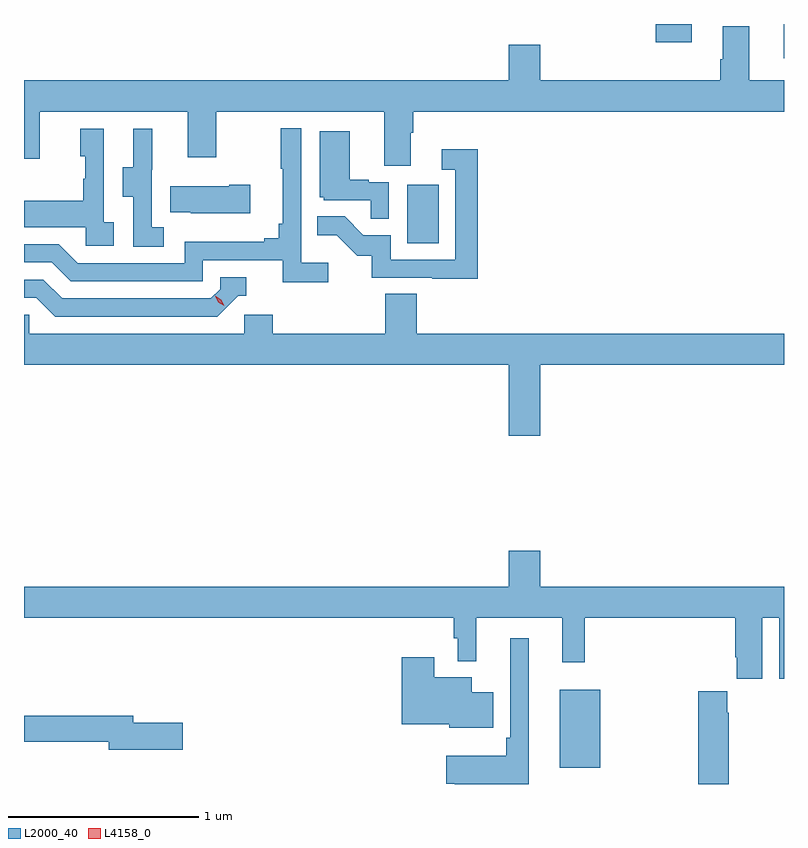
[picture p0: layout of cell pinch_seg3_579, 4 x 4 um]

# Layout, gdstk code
import gdstk
lib = gdstk.Library(unit=1e-6, precision=1e-09)
def R(c, l, rs):  # rectangles x0, y0, x1, y1
    for r in rs: c.add(gdstk.rectangle(r[:2], r[2:], *l))
def P(c, l, *ps):  # polygons
    for p in ps: c.add(gdstk.Polygon(p, *l))
L2000_40 = (2000, 40)
L4158_0 = (4158, 0)

pinch_seg3_579 = lib.new_cell('pinch_seg3_579')
R(pinch_seg3_579, L2000_40, [(1064.375,688.139,1064.59,688.549), (1063.574,690.9,1063.738,691.207), (1065.554,691.872,1065.556,692.053), (1064.881,691.956,1065.07,692.053)])
P(pinch_seg3_579, L2000_40, [(1063.591,691.48),(1063.604,691.48),(1063.604,691.592),(1065.556,691.592),(1065.556,691.756),(1065.373,691.756),(1065.373,692.042),(1065.233,692.042),(1065.233,691.868),(1065.221,691.868),(1065.221,691.756),(1064.272,691.756),(1064.272,691.945),(1064.108,691.945),(1064.108,691.756),(1061.556,691.756),(1061.556,691.344),(1061.639,691.344),(1061.639,691.592),(1062.419,691.592),(1062.419,691.353),(1062.567,691.353),(1062.567,691.592),(1063.451,691.592),(1063.451,691.306),(1063.591,691.306)],
  [(1063.156,690.796),(1063.014,690.796),(1063.014,691.504),(1062.906,691.504),(1062.906,691.291),(1062.917,691.291),(1062.917,691.003),(1062.898,691.003),(1062.898,690.926),(1062.821,690.926),(1062.821,690.907),(1062.402,690.907),(1062.402,690.795),(1061.838,690.795),(1061.739,690.894),(1061.556,690.894),(1061.556,690.798),(1061.702,690.798),(1061.801,690.699),(1062.498,690.699),(1062.498,690.81),(1062.917,690.81),(1062.917,690.694),(1063.156,690.694)],
  [(1062.292,690.983),(1062.228,690.983),(1062.228,691.287),(1062.23,691.287),(1062.23,691.501),(1062.131,691.501),(1062.131,691.299),(1062.077,691.299),(1062.077,691.144),(1062.132,691.144),(1062.132,690.88),(1062.292,690.88)],
  [(1062.028,691.01),(1061.976,691.01),(1061.976,691.501),(1061.852,691.501),(1061.852,691.356),(1061.878,691.356),(1061.878,691.238),(1061.868,691.238),(1061.868,691.123),(1061.556,691.123),(1061.556,690.983),(1061.88,690.983),(1061.88,690.885),(1062.028,690.885)],
  [(1063.476,691.221),(1063.37,691.221),(1063.37,691.234),(1063.27,691.234),(1063.27,691.489),(1063.112,691.489),(1063.112,691.14),(1063.134,691.14),(1063.134,691.125),(1063.381,691.125),(1063.381,691.027),(1063.476,691.027)],
  [(1063.943,691.393),(1063.755,691.393),(1063.755,691.287),(1063.827,691.287),(1063.827,690.813),(1063.485,690.813),(1063.485,690.942),(1063.341,690.942),(1063.243,691.04),(1063.099,691.04),(1063.099,690.941),(1063.203,690.941),(1063.31,690.834),(1063.387,690.834),(1063.387,690.717),(1063.705,690.717),(1063.705,690.712),(1063.943,690.712)],
  [(1062.748,691.206),(1062.635,691.206),(1062.635,691.198),(1062.325,691.198),(1062.325,691.061),(1062.433,691.061),(1062.433,691.058),(1062.748,691.058)],
  [(1062.684,690.624),(1062.727,690.624),(1062.727,690.72),(1062.588,690.72),(1062.588,690.657),(1062.54,690.609),(1061.757,690.609),(1061.658,690.708),(1061.556,690.708),(1061.556,690.612),(1061.621,690.612),(1061.72,690.513),(1062.573,690.513)],
  [(1064.272,690.26),(1065.556,690.26),(1065.556,690.424),(1063.622,690.424),(1063.622,690.632),(1063.457,690.632),(1063.457,690.424),(1062.866,690.424),(1062.866,690.522),(1062.714,690.522),(1062.714,690.424),(1061.583,690.424),(1061.583,690.522),(1061.556,690.522),(1061.556,690.26),(1064.108,690.26),(1064.108,689.886),(1064.272,689.886)],
  [(1065.442,688.928),(1065.53,688.928),(1065.53,688.608),(1065.556,688.608),(1065.556,689.092),(1064.272,689.092),(1064.272,689.281),(1064.108,689.281),(1064.108,689.092),(1061.556,689.092),(1061.556,688.928),(1063.819,688.928),(1063.819,688.821),(1063.839,688.821),(1063.839,688.7),(1063.937,688.7),(1063.937,688.928),(1064.39,688.928),(1064.39,688.695),(1064.507,688.695),(1064.507,688.928),(1065.299,688.928),(1065.299,688.72),(1065.308,688.72),(1065.308,688.608),(1065.442,688.608)],
  [(1064.212,688.819),(1064.115,688.819),(1064.115,688.297),(1064.095,688.297),(1064.095,688.201),(1063.778,688.201),(1063.778,688.054),(1063.822,688.054),(1063.822,688.053),(1064.212,688.053)],
  [(1064.026,688.537),(1063.912,688.537),(1063.912,688.615),(1063.714,688.615),(1063.714,688.72),(1063.544,688.72),(1063.544,688.367),(1063.794,688.367),(1063.794,688.349),(1064.026,688.349)],
  [(1065.264,688.427),(1065.257,688.427),(1065.257,688.54),(1065.104,688.54),(1065.104,688.053),(1065.264,688.053)],
  [(1062.391,688.376),(1062.13,688.376),(1062.13,688.412),(1061.556,688.412),(1061.556,688.276),(1062.002,688.276),(1062.002,688.234),(1062.391,688.234)])
P(pinch_seg3_579, L4158_0, [(1062.609,690.569),(1062.578,690.589),(1062.563,690.622),(1062.563,690.622),(1062.563,690.622),(1062.593,690.602),(1062.609,690.57),(1062.609,690.569)])

lib.write_gds('pinch_seg3_579.gds')
